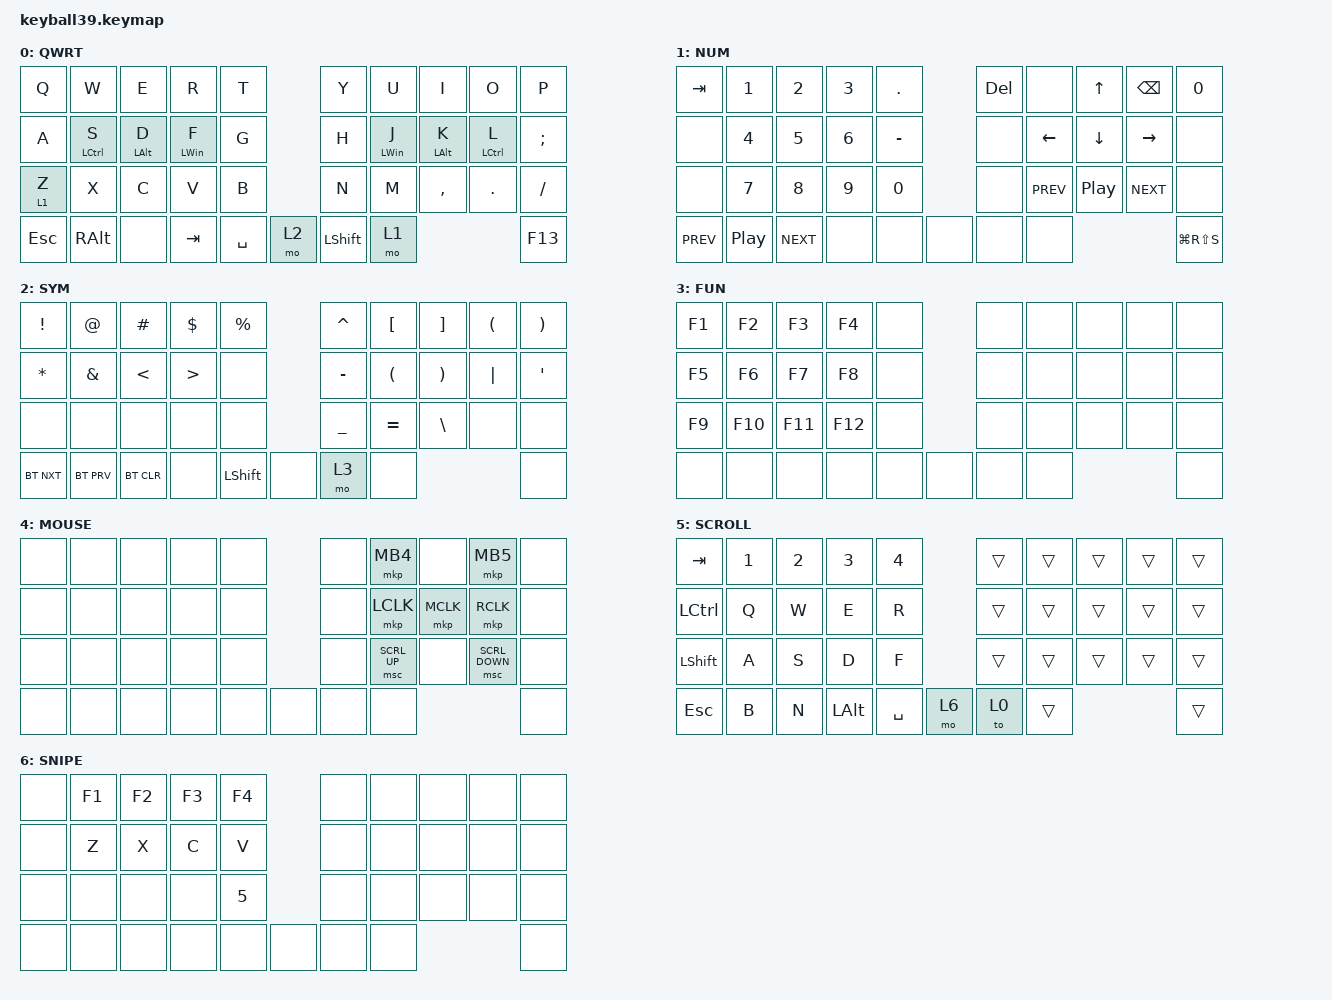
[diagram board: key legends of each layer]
#define DEFAULT 0
#define NUM     1
#define SYM     2
#define FUN     3
#define MOUSE   4
#define SCROLL  5
#define SNIPE   6

#include <behaviors/mouse_keys.dtsi>
#include <dt-bindings/zmk/mouse.h>
#include <behaviors.dtsi>
#include <dt-bindings/zmk/bt.h>
#include <dt-bindings/zmk/keys.h>
#include <dt-bindings/zmk/pointing.h>

&lt {
    tapping-term-ms = <240>;
    flavor = "balanced";
    quick-tap-ms = <150>;
};

&mt {
    tapping-term-ms = <200>;
    flavor = "tap-preferred";
    quick-tap-ms = <150>;
};

&caps_word { continue-list = <UNDERSCORE MINUS>; };

/ {
    // custom shift using mod-morph 

    behaviors {
        cmqus: comma_question {
            compatible = "zmk,behavior-mod-morph";
            label = "COMMA_QUESTION";
            #binding-cells = <0>;
            bindings = <&kp COMMA>, <&kp QUESTION>;

            mods = <(MOD_LSFT|MOD_RSFT)>;
        };

        dtsmi: dot_semi {
            compatible = "zmk,behavior-mod-morph";
            label = "DOT_SEMI";
            #binding-cells = <0>;
            bindings = <&kp DOT>, <&kp SEMI>;

            mods = <(MOD_LSFT|MOD_RSFT)>;
        };
    };

    macros {
        Hiragana: Hiragana {
            compatible = "zmk,behavior-macro";
            #binding-cells = <0>;
            bindings = <&kp LC(SPACE)>;
            label = "HIRAGANA";
        };
    };

    combos {
        compatible = "zmk,combos";

        bkspc {
            bindings = <&kp LC(BACKSPACE)>;
            key-positions = <7 8>;
            layers = <0>;
        };

        enter {
            bindings = <&kp ENTER>;
            key-positions = <16 17>;
            layers = <0>;
        };

        gamignisn {
            bindings = <&tog 5>;
            key-positions = <38 30>;
            layers = <0>;
        };
    };

    keymap {
        compatible = "zmk,keymap";

        default_layer {
            label = "QWRT";
            bindings = <
&kp Q       &kp W          &kp E           &kp R           &kp T                         &kp Y  &kp U           &kp I       &kp O        &kp P
&kp A       &mt LCTRL S    &mt LEFT_ALT D  &mt LEFT_WIN F  &kp G                         &kp H  &mt LEFT_WIN J  &mt LALT K  &mt LCTRL L  &kp SEMI
&lt 1 Z     &kp X          &kp C           &kp V           &kp B                         &kp N  &kp M           &kp COMMA   &kp DOT      &kp SLASH
&kp ESCAPE  &kp RIGHT_ALT  &none           &kp TAB         &kp SPACE  &mo 2  &kp LSHIFT  &mo 1                                           &kp F13
            >;
        };

        number_layer {
            label = "NUM";
            bindings = <
&kp TAB     &kp NUMBER_1  &kp NUMBER_2  &kp NUMBER_3  &kp DOT                  &kp DELETE  &none       &kp UP_ARROW      &kp BACKSPACE  &kp NUMBER_0
&none       &kp NUMBER_4  &kp N5        &kp NUMBER_6  &kp MINUS                &none       &kp LEFT    &kp DOWN_ARROW    &kp RIGHT      &none
&none       &kp N7        &kp N8        &kp N9        &kp N0                   &none       &kp C_PREV  &kp C_PLAY_PAUSE  &kp C_NEXT     &none
&kp C_PREV  &kp C_PP      &kp C_NEXT    &none         &none      &none  &none  &none                                                    &kp LG(RS(S))
            >;
        };

        symbol_layer {
            label = "SYM";
            bindings = <
&kp EXCLAMATION  &kp AT_SIGN    &kp HASH       &kp DOLLAR        &kp PERCENT                &kp CARET       &kp LBKT              &kp RBKT               &kp LEFT_PARENTHESIS  &kp RIGHT_PARENTHESIS
&kp ASTERISK     &kp AMPERSAND  &kp LESS_THAN  &kp GREATER_THAN  &none                      &kp MINUS       &kp LEFT_PARENTHESIS  &kp RIGHT_PARENTHESIS  &kp PIPE              &kp SINGLE_QUOTE
&none            &none          &none          &none             &none                      &kp UNDERSCORE  &kp EQUAL             &kp BSLH               &none                 &none
&bt BT_NXT       &bt BT_PRV     &bt BT_CLR     &none             &kp LSHFT    &none  &mo 3  &none                                                                              &none
            >;
        };

        function_layer {
            label = "FUN";
            bindings = <
&kp F1  &kp F2   &kp F3   &kp F4   &none                &none  &none  &none  &none  &none
&kp F5  &kp F6   &kp F7   &kp F8   &none                &none  &none  &none  &none  &none
&kp F9  &kp F10  &kp F11  &kp F12  &none                &none  &none  &none  &none  &none
&none   &none    &none    &none    &none  &none  &none  &none                       &none
            >;
        };

        mouse_layer {
            label = "MOUSE";
            bindings = <
&none  &none  &none  &none  &none                &none  &mkp MB4      &none      &mkp MB5        &none
&none  &none  &none  &none  &none                &none  &mkp LCLK     &mkp MCLK  &mkp RCLK       &none
&none  &none  &none  &none  &none                &none  &msc SCRL_UP  &none      &msc SCRL_DOWN  &none
&none  &none  &none  &none  &none  &none  &none  &none                                           &none
            >;
        };

        scroll_layer {
            label = "SCROLL";
            bindings = <
&kp TAB    &kp N1  &kp N2  &kp N3    &kp N4                   &trans  &trans  &trans  &trans  &trans
&kp LCTRL  &kp Q   &kp W   &kp E     &kp R                    &trans  &trans  &trans  &trans  &trans
&kp LSHFT  &kp A   &kp S   &kp D     &kp F                    &trans  &trans  &trans  &trans  &trans
&kp ESC    &kp B   &kp N   &kp LALT  &kp SPACE  &mo 6  &to 0  &trans                          &trans
            >;
        };

        snipe_layer {
            label = "SNIPE";
            bindings = <
&none  &kp F1  &kp F2  &kp F3  &kp F4                      &none  &none  &none  &none  &none
&none  &kp Z   &kp X   &kp C   &kp V                       &none  &none  &none  &none  &none
&none  &none   &none   &none   &kp NUMBER_5                &none  &none  &none  &none  &none
&none  &none   &none   &none   &none         &none  &none  &none                       &none
            >;
        };
    };
};
